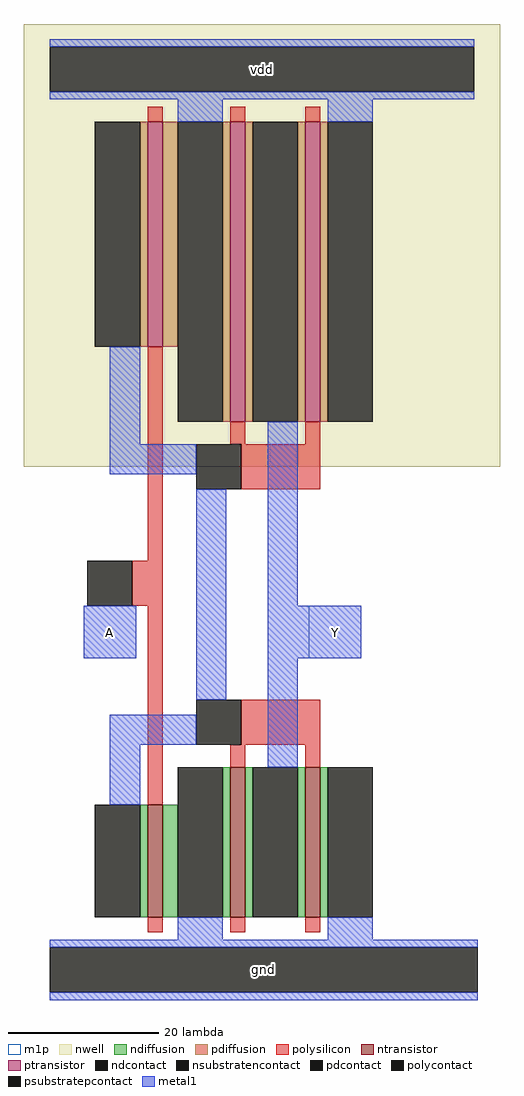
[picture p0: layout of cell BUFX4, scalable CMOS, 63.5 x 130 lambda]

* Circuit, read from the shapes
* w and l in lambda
.subckt BUFX4 A Y vdd gnd
M1 gnd A n1 gnd nfet w=15 l=2
M2 Y n1 gnd gnd nfet w=20 l=2 m=2
M3 vdd A n1 vdd pfet w=30 l=2
M4 Y n1 vdd vdd pfet w=40 l=2 m=2
.ends

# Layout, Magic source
magic
tech scmos
magscale 1 2
<< nwell >>
rect -13 134 114 252
<< ntransistor >>
rect 20 14 24 44
rect 42 14 46 54
rect 62 14 66 54
<< ptransistor >>
rect 20 166 24 226
rect 42 146 46 226
rect 62 146 66 226
<< ndiffusion >>
rect 18 14 20 44
rect 24 14 28 44
rect 40 14 42 54
rect 46 14 48 54
rect 60 14 62 54
rect 66 14 68 54
<< pdiffusion >>
rect 18 166 20 226
rect 24 166 28 226
rect 40 146 42 226
rect 46 146 48 226
rect 60 146 62 226
rect 66 146 68 226
<< ndcontact >>
rect 6 14 18 44
rect 28 14 40 54
rect 48 14 60 54
rect 68 14 80 54
<< pdcontact >>
rect 6 166 18 226
rect 28 146 40 226
rect 48 146 60 226
rect 68 146 80 226
<< psubstratepcontact >>
rect -6 -6 108 6
<< nsubstratencontact >>
rect -6 234 107 246
<< polysilicon >>
rect 20 226 24 230
rect 42 226 46 230
rect 62 226 66 230
rect 20 109 24 166
rect 42 140 46 146
rect 62 140 66 146
rect 45 128 66 140
rect 16 97 24 109
rect 20 44 24 97
rect 45 60 66 72
rect 42 54 46 60
rect 62 54 66 60
rect 20 10 24 14
rect 42 10 46 14
rect 62 10 66 14
<< polycontact >>
rect 33 128 45 140
rect 4 97 16 109
rect 33 60 45 72
<< metal1 >>
rect -6 246 107 248
rect -6 232 107 234
rect 28 226 40 232
rect 68 226 80 232
rect 10 140 18 166
rect 10 132 33 140
rect 3 83 17 97
rect 33 72 41 128
rect 52 97 60 146
rect 52 83 77 97
rect 10 60 33 68
rect 10 44 18 60
rect 52 54 60 83
rect 28 8 40 14
rect 68 8 80 14
rect -6 6 108 8
rect -6 -8 108 -6
<< m1p >>
rect 3 83 17 97
rect 63 83 77 97
<< labels >>
rlabel metal1 -6 -8 108 8 0 gnd
port 3 nsew ground bidirectional abutment
rlabel metal1 63 83 77 97 0 Y
port 1 nsew signal output
rlabel metal1 3 83 17 97 0 A
port 0 nsew signal input
rlabel metal1 -6 232 107 248 0 vdd
port 2 nsew power bidirectional abutment
<< properties >>
string FIXED_BBOX 0 0 100 240
string LEFclass CORE
string LEFsite core
string LEFsymmetry X Y
<< end >>
